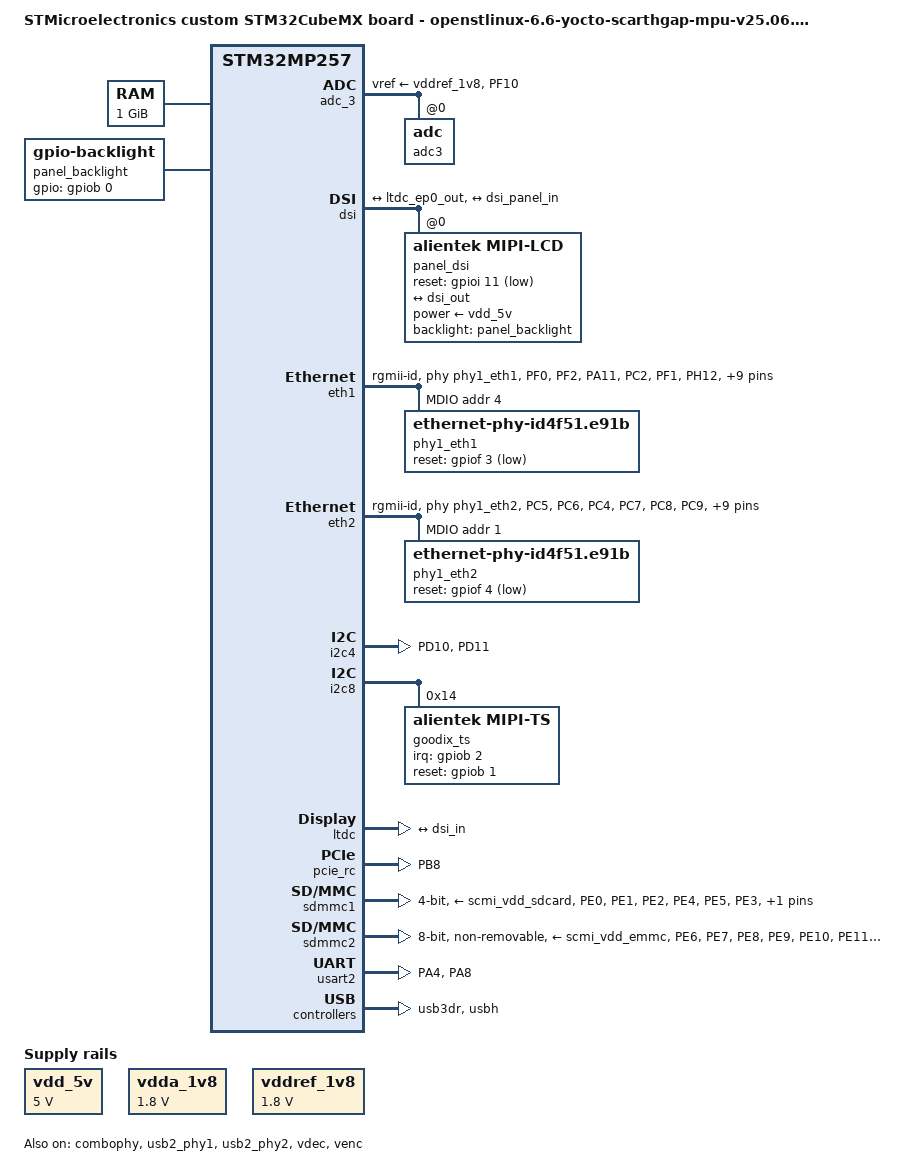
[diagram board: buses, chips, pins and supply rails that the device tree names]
// SPDX-License-Identifier: (GPL-2.0-only OR BSD-3-Clause)
/*
 * Copyright (C) 2026, STMicroelectronics - All Rights Reserved
 * Author: STM32CubeMX code generation for STMicroelectronics.
 */

/* For more information on Device Tree configuration, please refer to
 * https://wiki.st.com/stm32mpu/wiki/Category:Device_tree_configuration
 */

/dts-v1/;

#include <dt-bindings/pinctrl/stm32-pinfunc.h>
#include "stm32mp257.dtsi"
#include "stm32mp257d-stm32mp257dak3-mx-resmem.dtsi"
#include "stm32mp25xxak-pinctrl.dtsi"

/* USER CODE BEGIN includes */
#include <dt-bindings/gpio/gpio.h>
#include "stm32mp25-pinctrl.dtsi"
/* USER CODE END includes */

/ {
	model = "STMicroelectronics custom STM32CubeMX board - openstlinux-6.6-yocto-scarthgap-mpu-v25.06.11";
	compatible = "st,stm32mp257d-stm32mp257dak3-mx", "st,stm32mp257";

	memory@80000000 {
		device_type = "memory";
		reg = <0x0 0x80000000 0x0 0x40000000>;

		/* USER CODE BEGIN memory */
		/* USER CODE END memory */
	};

	/* USER CODE BEGIN root */
	aliases{
		serial0 = &usart2;
	};
	
	chosen{
		stdout-path = "serial0:115200n8";
		#address-cells = <2>;
		#size-cells = <2>;
		ranges;
	};

	config_adc_mipi_dsi_lcd_id {
		st,adc_mipi_dsi_lcd_id = <&adc3 2>;
	};

	rgb_lcd_id_pinctrl {
		gpior = <&gpiog 7 	GPIO_ACTIVE_LOW>;	//LCD_R7
		gpiog = <&gpiog 13 	GPIO_ACTIVE_LOW>;	//LCD_G7
		gpiob = <&gpioi 4 	GPIO_ACTIVE_LOW>;	//LCD_B7
	};

	panel_backlight: panel-backlight {
		compatible = "gpio-backlight";
		gpios = <&gpiob 0 GPIO_ACTIVE_HIGH>;
		default-on;
		status = "okay";
	};

        vdd_5v: regulator-vdd-5v {
                compatible = "regulator-fixed";
                regulator-name = "vdd_5v";
                regulator-min-microvolt = <5000000>;
                regulator-max-microvolt = <5000000>;
                regulator-always-on;
                regulator-boot-on;
        };
	
	vdda_1v8: regulator-vdda-1v8 {
			compatible = "regulator-fixed";
			regulator-name = "vdda_1v8";
			regulator-min-microvolt = <1800000>;
			regulator-max-microvolt = <1800000>;
			regulator-always-on;
			regulator-boot-on;
	};

	vddref_1v8: regulator-vddref-1v8 {
			compatible = "regulator-fixed";
			regulator-name = "vddref_1v8";
			regulator-min-microvolt = <1800000>;
			regulator-max-microvolt = <1800000>;
			regulator-always-on;
			regulator-boot-on;
	};
	/* USER CODE END root */

	clocks{

		/* USER CODE BEGIN clocks */
		pad_clk: pad-clk {
			#clock-cells = <0>;
			compatible = "fixed-clock";
			clock-frequency = <100000000>;
		};
		/* USER CODE END clocks */
	};

}; /*root*/

&pinctrl {

	adc3_pins_mx: adc3_mx-0 {
		pins {
			pinmux = <STM32_PINMUX('F', 10, ANALOG)>; /* ADC3_INP2 */
		};
	};

	adc3_sleep_pins_mx: adc3_sleep_mx-0 {
		pins {
			pinmux = <STM32_PINMUX('F', 10, ANALOG)>; /* ADC3_INP2 */
		};
	};

	eth1_mdio_pins_mx: eth1_mdio_mx-0 {
		pins1 {
			pinmux = <STM32_PINMUX('F', 0, AF10)>; /* ETH1_MDC */
			bias-disable;
			drive-push-pull;
			slew-rate = <2>;
			st,io-clk-edge = <0>;
			st,io-retime = <0>;
			st,io-delay-path = <0>;
			st,io-delay = <0>;
		};
		pins2 {
			pinmux = <STM32_PINMUX('F', 2, AF10)>; /* ETH1_MDIO */
			bias-disable;
			drive-push-pull;
			slew-rate = <0>;
			st,io-clk-edge = <0>;
			st,io-retime = <0>;
			st,io-delay-path = <0>;
			st,io-delay = <0>;
		};
	};

	eth1_mdio_sleep_pins_mx: eth1_mdio_sleep_mx-0 {
		pins {
			pinmux = <STM32_PINMUX('F', 0, ANALOG)>, /* ETH1_MDC */
					 <STM32_PINMUX('F', 2, ANALOG)>; /* ETH1_MDIO */
		};
	};

	eth1_rgmii_pins_mx: eth1_rgmii_mx-0 {
		pins1 {
			pinmux = <STM32_PINMUX('A', 11, AF10)>, /* ETH1_RGMII_RX_CTL */
					 <STM32_PINMUX('C', 2, AF10)>, /* ETH1_RGMII_RXD1 */
					 <STM32_PINMUX('F', 1, AF10)>, /* ETH1_RGMII_RXD0 */
					 <STM32_PINMUX('H', 12, AF10)>, /* ETH1_RGMII_RXD2 */
					 <STM32_PINMUX('H', 13, AF10)>; /* ETH1_RGMII_RXD3 */
			bias-disable;
			drive-push-pull;
			st,io-clk-edge = <1>;
			st,io-retime = <1>;
			st,io-delay-path = <0>;
			st,io-delay = <0>;
		};
		pins2 {
			pinmux = <STM32_PINMUX('A', 13, AF10)>, /* ETH1_RGMII_TX_CTL */
					 <STM32_PINMUX('A', 15, AF10)>, /* ETH1_RGMII_TXD0 */
					 <STM32_PINMUX('C', 1, AF10)>, /* ETH1_RGMII_TXD1 */
					 <STM32_PINMUX('H', 10, AF10)>, /* ETH1_RGMII_TXD2 */
					 <STM32_PINMUX('H', 11, AF10)>; /* ETH1_RGMII_TXD3 */
			bias-disable;
			drive-push-pull;
			slew-rate = <2>;
			st,io-clk-edge = <1>;
			st,io-retime = <1>;
			st,io-delay-path = <0>;
			st,io-delay = <0>;
		};
		pins3 {
			pinmux = <STM32_PINMUX('A', 14, AF10)>; /* ETH1_RGMII_RX_CLK */
			bias-disable;
			drive-push-pull;
			slew-rate = <0>;
			st,io-clk-edge = <0>;
			st,io-retime = <0>;
			st,io-delay-path = <0>;
			st,io-delay = <0>;
		};
		pins4 {
			pinmux = <STM32_PINMUX('C', 0, AF12)>; /* ETH1_RGMII_GTX_CLK */
			bias-disable;
			drive-push-pull;
			slew-rate = <1>;
			st,io-clk-edge = <0>;
			st,io-retime = <0>;
			st,io-delay-path = <0>;
			st,io-delay = <0>;
		};
		pins5 {
			pinmux = <STM32_PINMUX('H', 9, AF10)>; /* ETH1_RGMII_CLK125 */
		};
	};

	eth1_rgmii_sleep_pins_mx: eth1_rgmii_sleep_mx-0 {
		pins {
			pinmux = <STM32_PINMUX('A', 11, ANALOG)>, /* ETH1_RGMII_RX_CTL */
					 <STM32_PINMUX('A', 13, ANALOG)>, /* ETH1_RGMII_TX_CTL */
					 <STM32_PINMUX('A', 14, ANALOG)>, /* ETH1_RGMII_RX_CLK */
					 <STM32_PINMUX('A', 15, ANALOG)>, /* ETH1_RGMII_TXD0 */
					 <STM32_PINMUX('C', 0, ANALOG)>, /* ETH1_RGMII_GTX_CLK */
					 <STM32_PINMUX('C', 1, ANALOG)>, /* ETH1_RGMII_TXD1 */
					 <STM32_PINMUX('C', 2, ANALOG)>, /* ETH1_RGMII_RXD1 */
					 <STM32_PINMUX('F', 1, ANALOG)>, /* ETH1_RGMII_RXD0 */
					 <STM32_PINMUX('H', 9, ANALOG)>, /* ETH1_RGMII_CLK125 */
					 <STM32_PINMUX('H', 10, ANALOG)>, /* ETH1_RGMII_TXD2 */
					 <STM32_PINMUX('H', 11, ANALOG)>, /* ETH1_RGMII_TXD3 */
					 <STM32_PINMUX('H', 12, ANALOG)>, /* ETH1_RGMII_RXD2 */
					 <STM32_PINMUX('H', 13, ANALOG)>; /* ETH1_RGMII_RXD3 */
		};
	};

	eth2_mdio_pins_mx: eth2_mdio_mx-0 {
		pins1 {
			pinmux = <STM32_PINMUX('C', 5, AF10)>; /* ETH2_MDIO */
			bias-disable;
			drive-push-pull;
			slew-rate = <0>;
			st,io-clk-edge = <0>;
			st,io-retime = <0>;
			st,io-delay-path = <0>;
			st,io-delay = <0>;
		};
		pins2 {
			pinmux = <STM32_PINMUX('C', 6, AF10)>; /* ETH2_MDC */
			bias-disable;
			drive-push-pull;
			slew-rate = <2>;
			st,io-clk-edge = <0>;
			st,io-retime = <0>;
			st,io-delay-path = <0>;
			st,io-delay = <0>;
		};
	};

	eth2_mdio_sleep_pins_mx: eth2_mdio_sleep_mx-0 {
		pins {
			pinmux = <STM32_PINMUX('C', 5, ANALOG)>, /* ETH2_MDIO */
					 <STM32_PINMUX('C', 6, ANALOG)>; /* ETH2_MDC */
		};
	};

	eth2_rgmii_pins_mx: eth2_rgmii_mx-0 {
		pins1 {
			pinmux = <STM32_PINMUX('C', 4, AF10)>, /* ETH2_RGMII_TX_CTL */
					 <STM32_PINMUX('C', 7, AF10)>, /* ETH2_RGMII_TXD0 */
					 <STM32_PINMUX('C', 8, AF10)>, /* ETH2_RGMII_TXD1 */
					 <STM32_PINMUX('C', 9, AF10)>, /* ETH2_RGMII_TXD2 */
					 <STM32_PINMUX('C', 10, AF10)>; /* ETH2_RGMII_TXD3 */
			bias-disable;
			drive-push-pull;
			slew-rate = <2>;
			st,io-clk-edge = <1>;
			st,io-retime = <1>;
			st,io-delay-path = <0>;
			st,io-delay = <0>;
		};
		pins2 {
			pinmux = <STM32_PINMUX('C', 3, AF10)>, /* ETH2_RGMII_RX_CTL */
					 <STM32_PINMUX('C', 11, AF10)>, /* ETH2_RGMII_RXD3 */
					 <STM32_PINMUX('C', 12, AF10)>, /* ETH2_RGMII_RXD1 */
					 <STM32_PINMUX('F', 9, AF10)>, /* ETH2_RGMII_RXD2 */
					 <STM32_PINMUX('G', 0, AF10)>; /* ETH2_RGMII_RXD0 */
			bias-disable;
			drive-push-pull;
			st,io-clk-edge = <1>;
			st,io-retime = <1>;
			st,io-delay-path = <0>;
			st,io-delay = <0>;
		};
		pins3 {
			pinmux = <STM32_PINMUX('F', 6, AF10)>; /* ETH2_RGMII_RX_CLK */
			bias-disable;
			drive-push-pull;
			slew-rate = <0>;
			st,io-clk-edge = <0>;
			st,io-retime = <0>;
			st,io-delay-path = <0>;
			st,io-delay = <0>;
		};
		pins4 {
			pinmux = <STM32_PINMUX('F', 7, AF10)>; /* ETH2_RGMII_GTX_CLK */
			bias-disable;
			drive-push-pull;
			slew-rate = <1>;
			st,io-clk-edge = <0>;
			st,io-retime = <0>;
			st,io-delay-path = <0>;
			st,io-delay = <0>;
		};
		pins5 {
			pinmux = <STM32_PINMUX('F', 8, AF10)>; /* ETH2_RGMII_CLK125 */
			bias-disable;
			drive-push-pull;
			slew-rate = <2>;
		};
	};

	eth2_rgmii_sleep_pins_mx: eth2_rgmii_sleep_mx-0 {
		pins {
			pinmux = <STM32_PINMUX('C', 3, ANALOG)>, /* ETH2_RGMII_RX_CTL */
					 <STM32_PINMUX('C', 4, ANALOG)>, /* ETH2_RGMII_TX_CTL */
					 <STM32_PINMUX('C', 7, ANALOG)>, /* ETH2_RGMII_TXD0 */
					 <STM32_PINMUX('C', 8, ANALOG)>, /* ETH2_RGMII_TXD1 */
					 <STM32_PINMUX('C', 9, ANALOG)>, /* ETH2_RGMII_TXD2 */
					 <STM32_PINMUX('C', 10, ANALOG)>, /* ETH2_RGMII_TXD3 */
					 <STM32_PINMUX('C', 11, ANALOG)>, /* ETH2_RGMII_RXD3 */
					 <STM32_PINMUX('C', 12, ANALOG)>, /* ETH2_RGMII_RXD1 */
					 <STM32_PINMUX('F', 6, ANALOG)>, /* ETH2_RGMII_RX_CLK */
					 <STM32_PINMUX('F', 7, ANALOG)>, /* ETH2_RGMII_GTX_CLK */
					 <STM32_PINMUX('F', 8, ANALOG)>, /* ETH2_RGMII_CLK125 */
					 <STM32_PINMUX('F', 9, ANALOG)>, /* ETH2_RGMII_RXD2 */
					 <STM32_PINMUX('G', 0, ANALOG)>; /* ETH2_RGMII_RXD0 */
		};
	};

	i2c4_pins_mx: i2c4_mx-0 {
		pins {
			pinmux = <STM32_PINMUX('D', 10, AF6)>, /* I2C4_SDA */
					 <STM32_PINMUX('D', 11, AF6)>; /* I2C4_SCL */
			bias-disable;
			drive-open-drain;
			slew-rate = <0>;
		};
	};

	i2c4_sleep_pins_mx: i2c4_sleep_mx-0 {
		pins {
			pinmux = <STM32_PINMUX('D', 10, ANALOG)>, /* I2C4_SDA */
					 <STM32_PINMUX('D', 11, ANALOG)>; /* I2C4_SCL */
		};
	};

	pcie_pins_mx: pcie_mx-0 {
		pins {
			pinmux = <STM32_PINMUX('B', 8, AF4)>; /* PCIE_CLKREQN */
			bias-disable;
			drive-push-pull;
			slew-rate = <0>;
		};
	};

	pcie_init_pins_mx: pcie_init_mx-0 {
		pins {
			pinmux = <STM32_PINMUX('B', 8, ANALOG)>; /* PCIE_CLKREQN */
		};
	};

	pcie_sleep_pins_mx: pcie_sleep_mx-0 {
		pins {
			pinmux = <STM32_PINMUX('B', 8, ANALOG)>; /* PCIE_CLKREQN */
		};
	};

	sdmmc1_pins_mx: sdmmc1_mx-0 {
		pins1 {
			pinmux = <STM32_PINMUX('E', 0, AF10)>, /* SDMMC1_D2 */
					 <STM32_PINMUX('E', 1, AF10)>, /* SDMMC1_D3 */
					 <STM32_PINMUX('E', 2, AF10)>, /* SDMMC1_CMD */
					 <STM32_PINMUX('E', 4, AF10)>, /* SDMMC1_D0 */
					 <STM32_PINMUX('E', 5, AF10)>; /* SDMMC1_D1 */
			bias-disable;
			drive-push-pull;
			slew-rate = <1>;
		};
		pins2 {
			pinmux = <STM32_PINMUX('E', 3, AF10)>; /* SDMMC1_CK */
			bias-disable;
			drive-push-pull;
			slew-rate = <3>;
		};
	};

	sdmmc1_opendrain_pins_mx: sdmmc1_opendrain_mx-0 {
		pins1 {
			pinmux = <STM32_PINMUX('E', 0, AF10)>, /* SDMMC1_D2 */
					 <STM32_PINMUX('E', 1, AF10)>, /* SDMMC1_D3 */
					 <STM32_PINMUX('E', 4, AF10)>, /* SDMMC1_D0 */
					 <STM32_PINMUX('E', 5, AF10)>; /* SDMMC1_D1 */
			bias-disable;
			drive-push-pull;
			slew-rate = <1>;
		};
		pins2 {
			pinmux = <STM32_PINMUX('E', 2, AF10)>; /* SDMMC1_CMD */
			bias-disable;
			drive-open-drain;
			slew-rate = <1>;
		};
		pins3 {
			pinmux = <STM32_PINMUX('E', 3, AF10)>; /* SDMMC1_CK */
			bias-disable;
			drive-push-pull;
			slew-rate = <3>;
		};
	};

	sdmmc1_sleep_pins_mx: sdmmc1_sleep_mx-0 {
		pins {
			pinmux = <STM32_PINMUX('E', 0, ANALOG)>, /* SDMMC1_D2 */
					 <STM32_PINMUX('E', 1, ANALOG)>, /* SDMMC1_D3 */
					 <STM32_PINMUX('E', 2, ANALOG)>, /* SDMMC1_CMD */
					 <STM32_PINMUX('E', 3, ANALOG)>, /* SDMMC1_CK */
					 <STM32_PINMUX('E', 4, ANALOG)>, /* SDMMC1_D0 */
					 <STM32_PINMUX('E', 5, ANALOG)>; /* SDMMC1_D1 */
		};
	};

	sdmmc2_pins_mx: sdmmc2_mx-0 {
		pins1 {
			pinmux = <STM32_PINMUX('E', 6, AF12)>, /* SDMMC2_D6 */
					 <STM32_PINMUX('E', 7, AF12)>, /* SDMMC2_D7 */
					 <STM32_PINMUX('E', 8, AF12)>, /* SDMMC2_D2 */
					 <STM32_PINMUX('E', 9, AF12)>, /* SDMMC2_D5 */
					 <STM32_PINMUX('E', 10, AF12)>, /* SDMMC2_D4 */
					 <STM32_PINMUX('E', 11, AF12)>, /* SDMMC2_D1 */
					 <STM32_PINMUX('E', 12, AF12)>, /* SDMMC2_D3 */
					 <STM32_PINMUX('E', 13, AF12)>, /* SDMMC2_D0 */
					 <STM32_PINMUX('E', 15, AF12)>; /* SDMMC2_CMD */
			bias-disable;
			drive-push-pull;
			slew-rate = <1>;
		};
		pins2 {
			pinmux = <STM32_PINMUX('E', 14, AF12)>; /* SDMMC2_CK */
			bias-disable;
			drive-push-pull;
			slew-rate = <3>;
		};
	};

	sdmmc2_opendrain_pins_mx: sdmmc2_opendrain_mx-0 {
		pins1 {
			pinmux = <STM32_PINMUX('E', 6, AF12)>, /* SDMMC2_D6 */
					 <STM32_PINMUX('E', 7, AF12)>, /* SDMMC2_D7 */
					 <STM32_PINMUX('E', 8, AF12)>, /* SDMMC2_D2 */
					 <STM32_PINMUX('E', 9, AF12)>, /* SDMMC2_D5 */
					 <STM32_PINMUX('E', 10, AF12)>, /* SDMMC2_D4 */
					 <STM32_PINMUX('E', 11, AF12)>, /* SDMMC2_D1 */
					 <STM32_PINMUX('E', 12, AF12)>, /* SDMMC2_D3 */
					 <STM32_PINMUX('E', 13, AF12)>; /* SDMMC2_D0 */
			bias-disable;
			drive-push-pull;
			slew-rate = <1>;
		};
		pins2 {
			pinmux = <STM32_PINMUX('E', 14, AF12)>; /* SDMMC2_CK */
			bias-disable;
			drive-push-pull;
			slew-rate = <3>;
		};
		pins3 {
			pinmux = <STM32_PINMUX('E', 15, AF12)>; /* SDMMC2_CMD */
			bias-disable;
			drive-open-drain;
			slew-rate = <1>;
		};
	};

	sdmmc2_sleep_pins_mx: sdmmc2_sleep_mx-0 {
		pins {
			pinmux = <STM32_PINMUX('E', 6, ANALOG)>, /* SDMMC2_D6 */
					 <STM32_PINMUX('E', 7, ANALOG)>, /* SDMMC2_D7 */
					 <STM32_PINMUX('E', 8, ANALOG)>, /* SDMMC2_D2 */
					 <STM32_PINMUX('E', 9, ANALOG)>, /* SDMMC2_D5 */
					 <STM32_PINMUX('E', 10, ANALOG)>, /* SDMMC2_D4 */
					 <STM32_PINMUX('E', 11, ANALOG)>, /* SDMMC2_D1 */
					 <STM32_PINMUX('E', 12, ANALOG)>, /* SDMMC2_D3 */
					 <STM32_PINMUX('E', 13, ANALOG)>, /* SDMMC2_D0 */
					 <STM32_PINMUX('E', 14, ANALOG)>, /* SDMMC2_CK */
					 <STM32_PINMUX('E', 15, ANALOG)>; /* SDMMC2_CMD */
		};
	};

	usart2_pins_mx: usart2_mx-0 {
		pins1 {
			pinmux = <STM32_PINMUX('A', 4, AF6)>; /* USART2_TX */
			bias-disable;
			drive-push-pull;
			slew-rate = <0>;
		};
		pins2 {
			pinmux = <STM32_PINMUX('A', 8, AF8)>; /* USART2_RX */
			bias-disable;
			drive-push-pull;
		};
	};

	usart2_idle_pins_mx: usart2_idle_mx-0 {
		pins1 {
			pinmux = <STM32_PINMUX('A', 4, ANALOG)>; /* USART2_TX */
		};
		pins2 {
			pinmux = <STM32_PINMUX('A', 8, AF8)>; /* USART2_RX */
			bias-disable;
			drive-push-pull;
		};
	};

	usart2_sleep_pins_mx: usart2_sleep_mx-0 {
		pins {
			pinmux = <STM32_PINMUX('A', 4, ANALOG)>, /* USART2_TX */
					 <STM32_PINMUX('A', 8, ANALOG)>; /* USART2_RX */
		};
	};

	/* USER CODE BEGIN pinctrl */
	/* USER CODE END pinctrl */
};

&pinctrl_z {
	i2c8_pins_z_mx: i2c8_mx-0 {
		pins {
			pinmux = <STM32_PINMUX('Z', 4, AF8)>, /* I2C8_SCL */
					 <STM32_PINMUX('Z', 9, AF8)>; /* I2C8_SDA */
			bias-disable;
			drive-open-drain;
			slew-rate = <0>;
		};
	};

	/* USER CODE BEGIN pinctrl_z */
	i2c8_sleep_pins_z_mx: i2c8_sleep_mx-0 {
		pins {
			pinmux = <STM32_PINMUX('Z', 4, ANALOG)>, /* I2C8_SCL */
					 <STM32_PINMUX('Z', 9, ANALOG)>; /* I2C8_SDA */
		};
	};
	/* USER CODE END pinctrl_z */
};

&adc_3 {
	pinctrl-names = "default", "sleep";
	pinctrl-0 = <&adc3_pins_mx>;
	pinctrl-1 = <&adc3_sleep_pins_mx>;
	status = "okay";

	/* USER CODE BEGIN adc_3 */
	vdda-supply = <&vdda_1v8>;
	vref-supply = <&vddref_1v8>;

	adc3: adc@0 {
		#address-cells = <1>;
		#size-cells = <0>;
		status = "okay";

		channel@2 {
			reg = <2>;               			/* ADC3 in2 channel is used */
			st,min-sample-time-ns = <10000>;  	/* 10us sampling time */
		};
	};
	/* USER CODE END adc_3 */
};

&combophy {
	status = "okay";

	/* USER CODE BEGIN combophy */
	clocks = <&rcc CK_BUS_USB3PCIEPHY>, <&rcc CK_KER_USB3PCIEPHY>, <&pad_clk>;
	clock-names = "apb-clk", "ker-clk", "pad-clk";
	st,rx_equalizer = <1>;
	/* USER CODE END combophy */
};

&dsi {
	status = "okay";

	/* USER CODE BEGIN dsi */
	vdd-supply =  <&scmi_vddcore>;
	vdda18-supply = <&scmi_v1v8>;

	ports {
		#address-cells = <1>;
		#size-cells = <0>;

		port@0 {
			reg = <0>;
			dsi_in: endpoint {
				remote-endpoint = <&ltdc_ep0_out>;
			};
		};
		
		port@1 {
		    	reg = <1>;
		    	dsi_out: endpoint {
		        	remote-endpoint = <&dsi_panel_in>;
		    	};
		};
	};
	
    	panel_dsi: panel@0 {
        	compatible = "alientek,mipi-lcd";
        	reg = <0>;
		//dsi-lanes = <4>;
        	reset-gpios = <&gpioi 11 GPIO_ACTIVE_LOW>;
        	backlight = <&panel_backlight>;
        	power-supply = <&vdd_5v>;

        	port {
            		dsi_panel_in: endpoint {
                	remote-endpoint = <&dsi_out>;
            		};
        	};
    	};
	/* USER CODE END dsi */
};

&eth1 {
	pinctrl-names = "default", "sleep";
	pinctrl-0 = <&eth1_mdio_pins_mx>, <&eth1_rgmii_pins_mx>;
	pinctrl-1 = <&eth1_mdio_sleep_pins_mx>, <&eth1_rgmii_sleep_pins_mx>;
	status = "okay";

	/* USER CODE BEGIN eth1 */
	phy-mode = "rgmii-id";
	phy-handle = <&phy1_eth1>;
	st,eth-clk-sel;

	mdio1 {
		#address-cells = <1>;
		#size-cells = <0>;
		compatible = "snps,dwmac-mdio";
		phy1_eth1: ethernet-phy@4 {
 			compatible = "ethernet-phy-id4f51.e91b",
 			 	     "ethernet-phy-ieee802.3-c22";
			reset-gpios =  <&gpiof 3 GPIO_ACTIVE_LOW>;
			reset-assert-us = <10000>;
			reset-deassert-us = <80000>;
			realtek,eee-disable;
			reg = <4>;
		};
	};
	/* USER CODE END eth1 */
};

&eth2 {
	pinctrl-names = "default", "sleep";
	pinctrl-0 = <&eth2_mdio_pins_mx>, <&eth2_rgmii_pins_mx>;
	pinctrl-1 = <&eth2_mdio_sleep_pins_mx>, <&eth2_rgmii_sleep_pins_mx>;
	status = "okay";

	/* USER CODE BEGIN eth2 */
	phy-mode = "rgmii-id";
	max-speed = <1000>;
	phy-handle = <&phy1_eth2>;
	st,eth-ptp-from-rcc;

	mdio1 {
		#address-cells = <1>;
		#size-cells = <0>;
		compatible = "snps,dwmac-mdio";
		phy1_eth2: ethernet-phy@1 {
			compatible = "ethernet-phy-id4f51.e91b";
			reset-gpios =  <&gpiof 4 GPIO_ACTIVE_LOW>;
			reset-assert-us = <10000>;
			reset-deassert-us = <80000>;
			reg = <1>;
		};
	};
	/* USER CODE END eth2 */
};

&hpdma {
	status = "okay";

	/* USER CODE BEGIN hpdma */
	/* USER CODE END hpdma */
};

&hpdma2 {
	status = "okay";

	/* USER CODE BEGIN hpdma2 */
	/* USER CODE END hpdma2 */
};

&hpdma3 {
	status = "okay";

	/* USER CODE BEGIN hpdma3 */
	/* USER CODE END hpdma3 */
};

&i2c4 {
	pinctrl-names = "default", "sleep";
	pinctrl-0 = <&i2c4_pins_mx>;
	pinctrl-1 = <&i2c4_sleep_pins_mx>;
	status = "okay";

	/* USER CODE BEGIN i2c4 */
	/* spare dmas for other usage */
	/delete-property/dmas;
	/delete-property/dma-names;	
	/* USER CODE END i2c4 */
};

&i2c8 {
	pinctrl-names = "default", "sleep";
	pinctrl-0 = <&i2c8_pins_z_mx>;
	pinctrl-1 = <&i2c8_sleep_pins_z_mx>;
	status = "okay";

	/* USER CODE BEGIN i2c8 */
	/delete-property/dmas;
	/delete-property/dma-names;	

    	goodix_ts@14 {
		compatible = "alientek,mipi-ts";
		reg = <0x14>;
		interrupt-parent = <&gpiob>;
		interrupts = <2 IRQ_TYPE_EDGE_RISING>;
		irq-gpios = <&gpiob 2 GPIO_ACTIVE_HIGH>;
		reset-gpios = <&gpiob 1 GPIO_ACTIVE_HIGH>;
		status = "okay";
	};
	/* USER CODE END i2c8 */
};

&ltdc {
	status = "okay";

	/* USER CODE BEGIN ltdc */
	default-on;
	//rotation-memory = <&ltdc_sec_rotation>;

	port {
		#address-cells = <1>;
		#size-cells = <0>;

		ltdc_ep0_out: endpoint@0 {
			reg = <0>;
			remote-endpoint = <&dsi_in>;
		};
	};
	/* USER CODE END ltdc */
};

&pcie_rc {
	pinctrl-names = "default", "init", "sleep";
	pinctrl-0 = <&pcie_pins_mx>;
	pinctrl-1 = <&pcie_init_pins_mx>;
	pinctrl-2 = <&pcie_sleep_pins_mx>;
	status = "okay";

	/* USER CODE BEGIN pcie_rc */
	/* USER CODE END pcie_rc */
};

&sdmmc1 {
	pinctrl-names = "default", "opendrain", "sleep";
	pinctrl-0 = <&sdmmc1_pins_mx>;
	pinctrl-1 = <&sdmmc1_opendrain_pins_mx>;
	pinctrl-2 = <&sdmmc1_sleep_pins_mx>;
	status = "okay";

	/* USER CODE BEGIN sdmmc1 */
	cd-gpios = <&gpioi 8 (GPIO_ACTIVE_LOW | GPIO_PULL_UP)>;
	disable-wp;
	st,neg-edge;
	bus-width = <4>;
	vmmc-supply = <&scmi_vdd_sdcard>;
	vqmmc-supply = <&scmi_vddio1>;
	sd-uhs-sdr12;
	sd-uhs-sdr25;
	sd-uhs-sdr50;
	sd-uhs-ddr50;
	/* USER CODE END sdmmc1 */
};

&sdmmc2 {
	pinctrl-names = "default", "opendrain", "sleep";
	pinctrl-0 = <&sdmmc2_pins_mx>;
	pinctrl-1 = <&sdmmc2_opendrain_pins_mx>;
	pinctrl-2 = <&sdmmc2_sleep_pins_mx>;
	status = "okay";

	/* USER CODE BEGIN sdmmc2 */
	non-removable;
	no-sd;
	no-sdio;
	st,neg-edge;
	bus-width = <8>;
	vmmc-supply = <&scmi_vdd_emmc>;
	vqmmc-supply = <&scmi_vddio2>;
	mmc-ddr-1_8v;
	/* USER CODE END sdmmc2 */
};

&usart2 {
	pinctrl-names = "default", "idle", "sleep";
	pinctrl-0 = <&usart2_pins_mx>;
	pinctrl-1 = <&usart2_idle_pins_mx>;
	pinctrl-2 = <&usart2_sleep_pins_mx>;
	status = "okay";

	/* USER CODE BEGIN usart2 */
	/delete-property/ dmas;
	/delete-property/ dma-names;
	/* USER CODE END usart2 */
};

&usb2_phy1 {
	status = "okay";

	/* USER CODE BEGIN usb2_phy1 */
	vdd33-supply = <&scmi_vdd3v3_usb>;
	/* USER CODE END usb2_phy1 */
};

&usb2_phy2 {
	status = "okay";

	/* USER CODE BEGIN usb2_phy2 */
	vdd33-supply = <&scmi_vdd3v3_usb>;
	/* USER CODE END usb2_phy2 */
};

&usb3dr {
	status = "okay";

	/* USER CODE BEGIN usb3dr */
	dwc3: usb@48300000 {
		maximum-speed = "high-speed";
	};
	/* USER CODE END usb3dr */
};

&usbh {
	status = "okay";

	/* USER CODE BEGIN usbh */
	usbh_ehci: usb@482f0000 {
		#address-cells = <1>;
		#size-cells = <0>;
	};

	usbh_ohci: usb@482e0000 {
		status = "disabled";
	};
	/* USER CODE END usbh */
};

&vdec {
	status = "okay";

	/* USER CODE BEGIN vdec */
	/* USER CODE END vdec */
};

&venc {
	status = "okay";

	/* USER CODE BEGIN venc */
	/* USER CODE END venc */
};

/* USER CODE BEGIN addons */
&scmi_regu {
	scmi_vddio1: regulator@0 {
		regulator-min-microvolt = <1800000>;
		regulator-max-microvolt = <3300000>;
	};
	scmi_vddcore: regulator@11  {
		reg = <VOLTD_SCMI_STPMIC2_BUCK2>;
		regulator-name = "vddcore";
	};
	scmi_v1v8: regulator@14  {
		reg = <VOLTD_SCMI_STPMIC2_BUCK5>;
		regulator-name = "v1v8";
	};
	scmi_v3v3: regulator@16 {
		reg = <VOLTD_SCMI_STPMIC2_BUCK7>;
		regulator-name = "v3v3";
	};
	scmi_vdd_emmc: regulator@18 {
		reg = <VOLTD_SCMI_STPMIC2_LDO2>;
		regulator-name = "vdd_emmc";
	};
	scmi_vdd3v3_usb: regulator@20 {
		reg = <VOLTD_SCMI_STPMIC2_LDO4>;
		regulator-name = "vdd3v3_usb";
	};
	scmi_vdd_sdcard: regulator@23 {
		reg = <VOLTD_SCMI_STPMIC2_LDO7>;
		regulator-name = "vdd_sdcard";
	};
};
/* USER CODE END addons */

